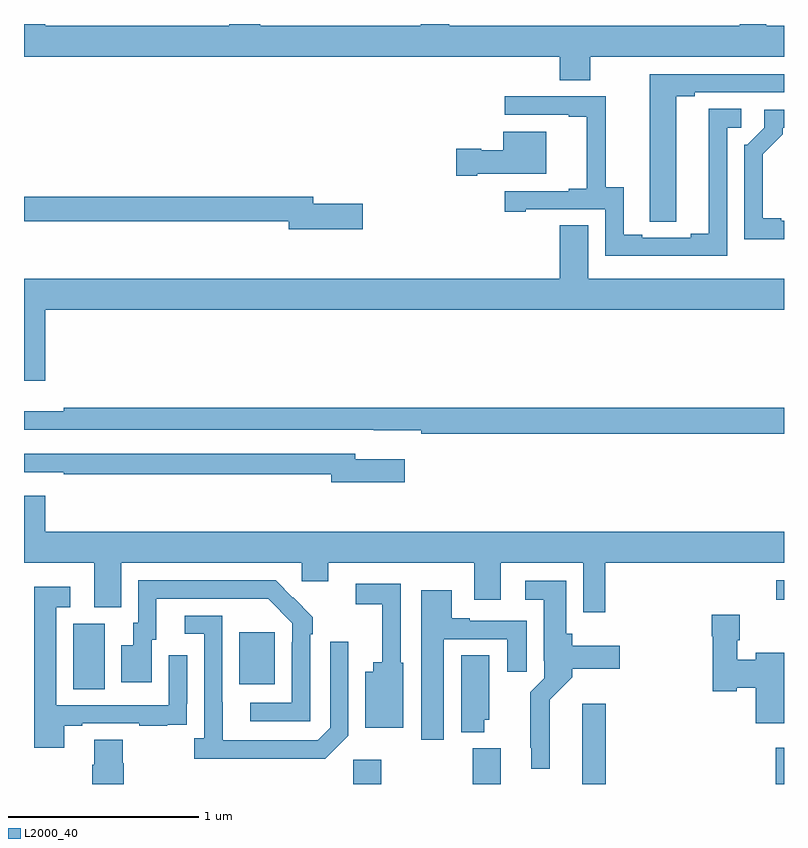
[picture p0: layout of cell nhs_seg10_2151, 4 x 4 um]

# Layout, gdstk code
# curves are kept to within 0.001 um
import gdstk
lib = gdstk.Library(unit=1e-6, precision=1e-09)
def R(c, l, rs):  # rectangles x0, y0, x1, y1
    for r in rs: c.add(gdstk.rectangle(r[:2], r[2:], *l))
def P(c, l, *ps):  # polygons
    for p in ps: c.add(gdstk.Polygon(p, *l))
L2000_40 = (2000, 40)

nhs_seg10_2151 = lib.new_cell('nhs_seg10_2151')
R(nhs_seg10_2151, L2000_40, [(226.734,1284.5,226.881,1284.628), (227.362,1284.5,227.509,1284.688), (227.939,1284.5,228.062,1284.922), (228.956,1284.5,229,1284.691), (225.26,1285,225.424,1285.344), (226.133,1285.025,226.321,1285.3), (228.96,1285.471,229,1285.572)])
P(nhs_seg10_2151, L2000_40, [(227.087,1288.5),(227.087,1288.492),(226.244,1288.492),(226.244,1288.5),(226.079,1288.5),(226.079,1288.492),(225.112,1288.492),(225.112,1288.5),(225,1288.5),(225,1288.328),(227.819,1288.328),(227.819,1288.204),(227.979,1288.204),(227.979,1288.328),(229,1288.328),(229,1288.492),(228.907,1288.492),(228.907,1288.5),(228.767,1288.5),(228.767,1288.492),(227.239,1288.492),(227.239,1288.5)],
  [(228.433,1288.12),(228.529,1288.12),(228.529,1288.14),(229,1288.14),(229,1288.236),(228.293,1288.236),(228.293,1287.568),(228.294,1287.568),(228.294,1287.46),(228.433,1287.46)],
  [(228.702,1287.954),(228.775,1287.954),(228.775,1288.055),(228.605,1288.055),(228.605,1287.395),(228.509,1287.395),(228.509,1287.375),(228.253,1287.375),(228.253,1287.39),(228.157,1287.39),(228.157,1287.641),(228.063,1287.641),(228.063,1288.119),(227.529,1288.119),(227.529,1288.023),(227.867,1288.023),(227.867,1288.011),(227.963,1288.011),(227.963,1287.634),(227.867,1287.634),(227.867,1287.621),(227.529,1287.621),(227.529,1287.513),(227.641,1287.513),(227.641,1287.525),(228.06,1287.525),(228.06,1287.279),(228.702,1287.279)],
  [(229,1287.465),(228.985,1287.465),(228.985,1287.478),(228.889,1287.478),(228.889,1287.814),(228.994,1287.919),(228.994,1287.954),(229,1287.954),(229,1288.05),(228.897,1288.05),(228.897,1287.954),(228.807,1287.864),(228.792,1287.864),(228.792,1287.368),(229,1287.368)],
  [(227.386,1287.713),(227.749,1287.713),(227.749,1287.934),(227.522,1287.934),(227.522,1287.835),(227.406,1287.835),(227.406,1287.843),(227.274,1287.843),(227.274,1287.701),(227.386,1287.701)],
  [(226.783,1287.554),(226.522,1287.554),(226.522,1287.59),(225,1287.59),(225,1287.462),(226.394,1287.462),(226.394,1287.419),(226.783,1287.419)],
  [(225.112,1286.996),(229,1286.996),(229,1287.16),(227.971,1287.16),(227.971,1287.44),(227.819,1287.44),(227.819,1287.16),(225,1287.16),(225,1286.622),(225.112,1286.622)],
  [(229,1286.48),(225.208,1286.48),(225.208,1286.461),(225,1286.461),(225,1286.364),(226.84,1286.364),(226.84,1286.363),(227.092,1286.363),(227.092,1286.344),(229,1286.344)],
  [(227.005,1286.209),(226.744,1286.209),(226.744,1286.238),(225,1286.238),(225,1286.142),(225.208,1286.142),(225.208,1286.13),(226.616,1286.13),(226.616,1286.087),(227.005,1286.087)],
  [(228.059,1285.664),(229,1285.664),(229,1285.828),(225.112,1285.828),(225.112,1286.017),(225,1286.017),(225,1285.664),(225.371,1285.664),(225.371,1285.429),(225.511,1285.429),(225.511,1285.664),(226.461,1285.664),(226.461,1285.566),(226.6,1285.566),(226.6,1285.664),(227.369,1285.664),(227.369,1285.47),(227.509,1285.47),(227.509,1285.664),(227.943,1285.664),(227.943,1285.404),(228.059,1285.404)],
  [(226.506,1285.289),(226.521,1285.289),(226.521,1285.377),(226.324,1285.572),(225.6,1285.572),(225.6,1285.35),(225.575,1285.35),(225.575,1285.231),(225.512,1285.231),(225.512,1285.035),(225.673,1285.035),(225.673,1285.26),(225.697,1285.26),(225.697,1285.476),(226.285,1285.476),(226.413,1285.347),(226.413,1285.247),(226.41,1285.247),(226.41,1284.927),(226.191,1284.927),(226.191,1284.831),(226.506,1284.831)],
  [(227.767,1284.944),(227.885,1285.062),(227.885,1285.106),(228.136,1285.106),(228.136,1285.228),(227.885,1285.228),(227.885,1285.29),(227.854,1285.29),(227.854,1285.57),(227.637,1285.57),(227.637,1285.469),(227.735,1285.469),(227.735,1285.15),(227.739,1285.15),(227.739,1285.056),(227.665,1284.982),(227.665,1284.691),(227.669,1284.691),(227.669,1284.581),(227.767,1284.581)],
  [(226.996,1285.137),(226.983,1285.137),(226.983,1285.554),(226.746,1285.554),(226.746,1285.446),(226.886,1285.446),(226.886,1285.141),(226.838,1285.141),(226.838,1285.09),(226.796,1285.09),(226.796,1284.797),(226.996,1284.797)],
  [(225.211,1284.807),(225.307,1284.807),(225.307,1284.819),(225.607,1284.819),(225.607,1284.807),(225.755,1284.807),(225.755,1284.813),(225.857,1284.813),(225.857,1284.922),(225.858,1284.922),(225.858,1285.177),(225.762,1285.177),(225.762,1284.915),(225.171,1284.915),(225.171,1285.431),(225.244,1285.431),(225.244,1285.537),(225.055,1285.537),(225.055,1284.69),(225.211,1284.69)],
  [(227.209,1285.263),(227.543,1285.263),(227.543,1285.092),(227.647,1285.092),(227.647,1285.359),(227.347,1285.359),(227.347,1285.372),(227.251,1285.372),(227.251,1285.519),(227.09,1285.519),(227.09,1284.732),(227.209,1284.732)],
  [(229,1285.192),(228.851,1285.192),(228.851,1285.154),(228.754,1285.154),(228.754,1285.257),(228.767,1285.257),(228.767,1285.39),(228.62,1285.39),(228.62,1285.277),(228.625,1285.277),(228.625,1284.989),(228.75,1284.989),(228.75,1285.007),(228.851,1285.007),(228.851,1284.819),(229,1284.819)],
  [(226.707,1284.753),(226.707,1285.249),(226.611,1285.249),(226.611,1284.795),(226.545,1284.729),(226.045,1284.729),(226.044,1285.386),(225.846,1285.386),(225.846,1285.29),(225.948,1285.29),(225.948,1284.742),(225.897,1284.742),(225.897,1284.632),(226.586,1284.632)],
  [(227.422,1284.837),(227.449,1284.837),(227.449,1285.178),(227.3,1285.178),(227.3,1284.773),(227.422,1284.773)],
  [(225.524,1284.609),(225.519,1284.609),(225.519,1284.734),(225.371,1284.734),(225.371,1284.602),(225.359,1284.602),(225.359,1284.5),(225.524,1284.5)])

lib.write_gds('nhs_seg10_2151.gds')
